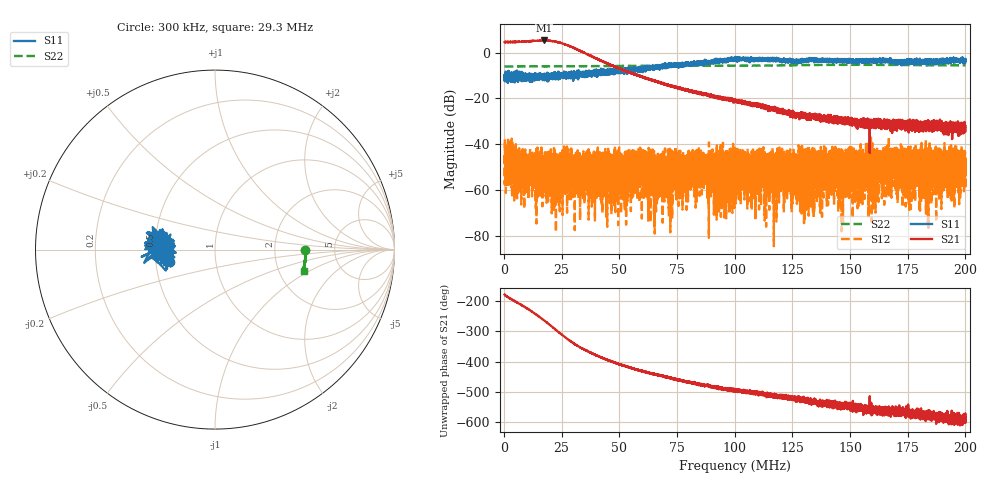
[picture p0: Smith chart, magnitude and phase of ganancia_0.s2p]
# Hz S DB R 50
! CMT, M5065, 19127446, 24.2.4/2
! Date: 10/29/2024 11:43:02 AM
! Data: Format (Calibration Info)
! Freq	S11:dB/Ang(F2)	S21:dB/Ang(F2)	S12:dB/Ang(F2)	S22:dB/Ang(F2)
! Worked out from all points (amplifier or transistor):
!   9000 points, 300 kHz to 200 MHz, reference 50 ohm
!   highest |S21| = 5.4 dB at 17.34 MHz (marker M1)
!   |S21| within 3 dB of that: start of sweep to 29.72 MHz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
!   unconditionally stable (mu >= 1): start of sweep to end of sweep
!   at 33.59 MHz: K = 107.44, MAG = 2.4 dB, |S12| = -50.8 dB
!   at 100.2 MHz: K = 732.68, MAG = -15.9 dB, |S12| = -52.3 dB
!   at 200 MHz: K = 1407.53, MAG = -27.6 dB, |S12| = -46.0 dB
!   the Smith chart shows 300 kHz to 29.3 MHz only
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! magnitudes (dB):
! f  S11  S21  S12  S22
! 300 kHz  -11.8  4.7  -44.8  -6.0
! 8 MHz  -10.1  4.9  -51.5  -5.9
! 17.34 MHz  -10.7  5.4  -49.5  -5.9
! 33.59 MHz  -9.9  0.6  -50.8  -5.8
! 41.27 MHz  -9.4  -3.1  -47.9  -5.8
! 47.28 MHz  -8.5  -5.8  -45.6  -5.8
! 59.97 MHz  -7.9  -10.5  -51.7  -5.7
! 65.65 MHz  -6.8  -12.5  -47.7  -5.7
! 66.87 MHz  -6.6  -12.8  -48.4  -5.7
! 78.13 MHz  -5.0  -15.9  -51.5  -5.7
! 82.05 MHz  -4.3  -16.9  -49.4  -5.7
! 96.14 MHz  -2.8  -19.8  -43.6  -5.6
! 100.2 MHz  -2.5  -20.8  -52.3  -5.6
! 133.4 MHz  -3.3  -28.0  -47.2  -5.4
! 139.2 MHz  -2.9  -27.8  -45.4  -5.3
! 145.4 MHz  -3.7  -29.1  -55.0  -5.3
! 150.1 MHz  -4.0  -29.3  -49.7  -5.3
! 152.4 MHz  -3.9  -31.3  -48.5  -5.3
! 154.4 MHz  -2.9  -31.2  -50.8  -5.3
! 166.7 MHz  -3.6  -30.3  -43.3  -5.3
! 189.8 MHz  -3.7  -32.0  -44.4  -5.5
! 200 MHz  -2.9  -32.2  -46.0  -5.5
